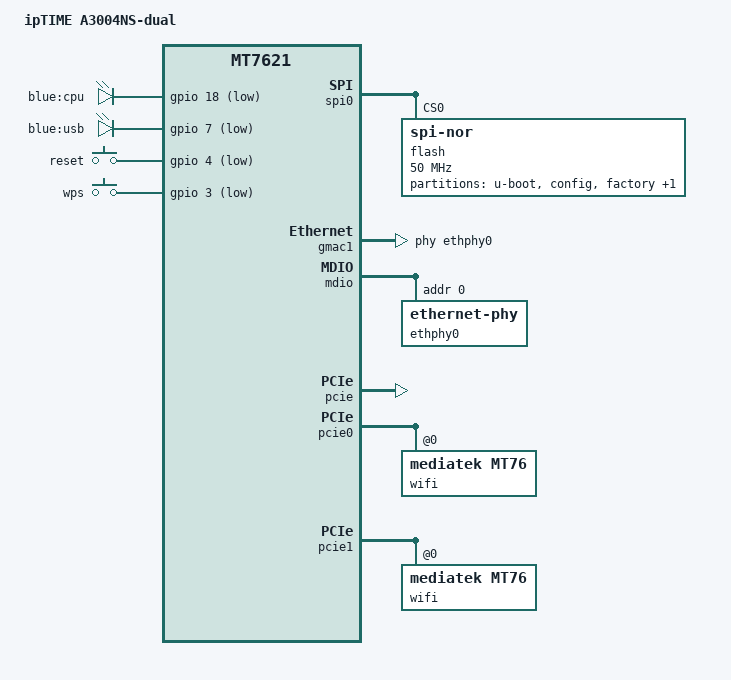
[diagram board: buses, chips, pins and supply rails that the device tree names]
// SPDX-License-Identifier: GPL-2.0-or-later OR MIT

#include "mt7621.dtsi"

#include <dt-bindings/gpio/gpio.h>
#include <dt-bindings/input/input.h>

/ {
	compatible = "iptime,a3004ns-dual", "mediatek,mt7621-soc";
	model = "ipTIME A3004NS-dual";

	aliases {
		led-boot = &led_cpu;
		led-failsafe = &led_cpu;
		led-running = &led_cpu;
		led-upgrade = &led_cpu;
	};

	leds {
		compatible = "gpio-leds";

		led_cpu: cpu {
			label = "blue:cpu";
			gpios = <&gpio 18 GPIO_ACTIVE_LOW>;
		};

		usb {
			label = "blue:usb";
			gpios = <&gpio 7 GPIO_ACTIVE_LOW>;
			trigger-sources = <&xhci_ehci_port1>;
			linux,default-trigger = "usbport";
		};
	};

	keys {
		compatible = "gpio-keys";

		reset {
			label = "reset";
			gpios = <&gpio 4 GPIO_ACTIVE_LOW>;
			linux,code = <KEY_RESTART>;
		};

		wps {
			label = "wps";
			gpios = <&gpio 3 GPIO_ACTIVE_LOW>;
			linux,code = <KEY_WPS_BUTTON>;
		};
	 };
};

&spi0 {
	status = "okay";

	flash@0 {
		compatible = "jedec,spi-nor";
		reg = <0>;
		spi-max-frequency = <50000000>;

		partitions {
			compatible = "fixed-partitions";
			#address-cells = <1>;
			#size-cells = <1>;

			uboot: partition@0 {
				label = "u-boot";
				reg = <0x0 0x20000>;
				read-only;
			};

			partition@20000 {
				label = "config";
				reg = <0x20000 0x10000>;
				read-only;
			};

			factory: partition@30000 {
				label = "factory";
				reg = <0x30000 0x10000>;
				read-only;
			};

			partition@40000 {
				label = "firmware";
				reg = <0x40000 0xfc0000>;
				compatible = "denx,uimage";
			};
		};
	};
};

&gmac0 {
	nvmem-cells = <&macaddr_uboot_1fc20>;
	nvmem-cell-names = "mac-address";
};

&gmac1 {
	status = "okay";
	label = "wan";
	phy-handle = <&ethphy0>;

	nvmem-cells = <&macaddr_uboot_1fc40>;
	nvmem-cell-names = "mac-address";
};

&mdio {
	ethphy0: ethernet-phy@0 {
		reg = <0>;
	};
};

&switch0 {
	ports {
		port@1 {
			status = "okay";
			label = "lan1";
		};

		port@2 {
			status = "okay";
			label = "lan2";
		};

		port@3 {
			status = "okay";
			label = "lan3";
		};

		port@4 {
			status = "okay";
			label = "lan4";
		};
	};
};

&pcie {
	status = "okay";
};

&pcie0 {
	wifi@0,0 {
		compatible = "mediatek,mt76";
		reg = <0x0000 0 0 0 0>;
		mediatek,mtd-eeprom = <&factory 0x8000>;
		ieee80211-freq-limit = <5000000 6000000>;

		led {
			led-sources = <2>;
			led-active-low;
		};
	};
};

&pcie1 {
	wifi@0,0 {
		compatible = "mediatek,mt76";
		reg = <0x0000 0 0 0 0>;
		mediatek,mtd-eeprom = <&factory 0x0000>;
		ieee80211-freq-limit = <2400000 2500000>;

		led {
			led-sources = <2>;
			led-active-low;
		};
	};
};

&state_default {
	gpio {
		groups = "wdt", "i2c", "uart3";
		function = "gpio";
	};
};

&uboot {
	compatible = "nvmem-cells";
	#address-cells = <1>;
	#size-cells = <1>;

	macaddr_uboot_1fc20: macaddr@1fc20 {
		reg = <0x1fc20 0x6>;
	};

	macaddr_uboot_1fc40: macaddr@1fc40 {
		reg = <0x1fc40 0x6>;
	};
};
